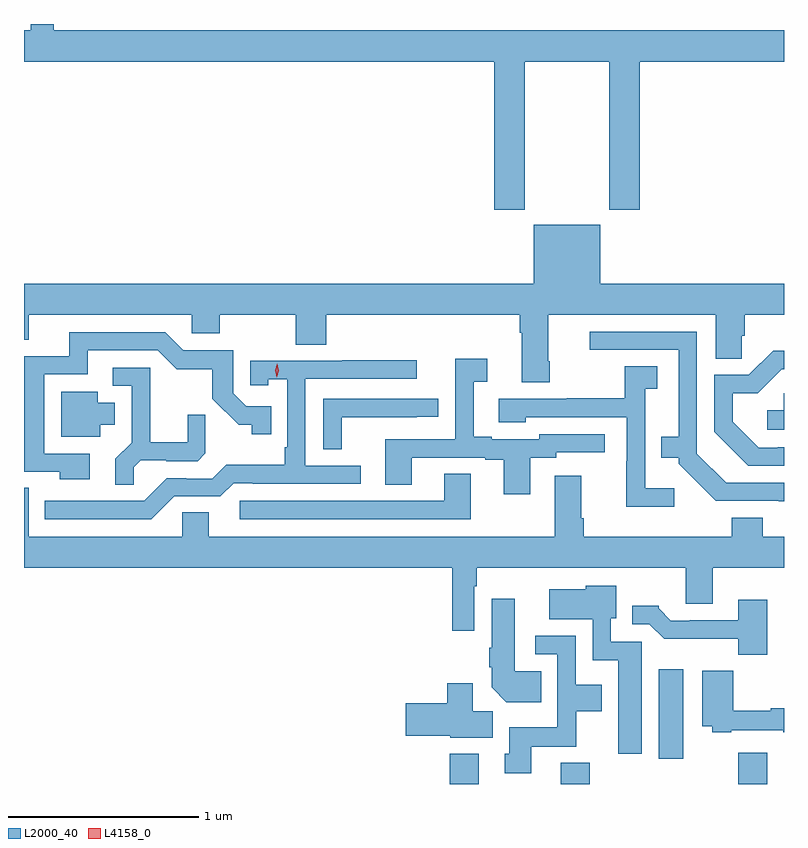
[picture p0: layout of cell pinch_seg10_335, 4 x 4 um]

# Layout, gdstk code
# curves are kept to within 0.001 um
import gdstk
lib = gdstk.Library(unit=1e-6, precision=1e-09)
def R(c, l, rs):  # rectangles x0, y0, x1, y1
    for r in rs: c.add(gdstk.rectangle(r[:2], r[2:], *l))
def P(c, l, *ps):  # polygons
    for p in ps: c.add(gdstk.Polygon(p, *l))
L2000_40 = (2000, 40)
L4158_0 = (4158, 0)

pinch_seg10_335 = lib.new_cell('pinch_seg10_335')
R(pinch_seg10_335, L2000_40, [(410.675,1253.89,410.827,1254.049), (411.257,1253.89,411.41,1254.001), (412.193,1253.89,412.346,1254.055), (411.773,1254.024,411.904,1254.493)])
P(pinch_seg10_335, L2000_40, [(411.069,1257.692),(411.514,1257.692),(411.514,1256.913),(411.674,1256.913),(411.674,1257.692),(412.433,1257.692),(412.433,1257.856),(408.589,1257.856),(408.589,1257.89),(408.468,1257.89),(408.468,1257.856),(408.433,1257.856),(408.433,1257.692),(410.909,1257.692),(410.909,1256.913),(411.069,1256.913)],
  [(408.433,1256.227),(408.457,1256.227),(408.457,1256.36),(409.317,1256.36),(409.317,1256.262),(409.464,1256.262),(409.464,1256.36),(409.864,1256.36),(409.864,1256.203),(410.024,1256.203),(410.024,1256.36),(411.041,1256.36),(411.041,1256.264),(411.053,1256.264),(411.053,1256.004),(411.201,1256.004),(411.201,1256.116),(411.193,1256.116),(411.193,1256.36),(412.073,1256.36),(412.073,1256.128),(412.211,1256.128),(412.211,1256.25),(412.226,1256.25),(412.226,1256.36),(412.433,1256.36),(412.433,1256.524),(411.466,1256.524),(411.466,1256.833),(411.116,1256.833),(411.116,1256.524),(408.433,1256.524)],
  [(412.433,1255.476),(412.128,1255.476),(411.975,1255.629),(411.975,1256.271),(411.411,1256.271),(411.411,1256.175),(411.878,1256.175),(411.878,1255.717),(411.787,1255.717),(411.787,1255.607),(411.879,1255.607),(411.879,1255.575),(412.074,1255.38),(412.433,1255.379)],
  [(408.778,1255.629),(408.54,1255.629),(408.54,1256.046),(408.769,1256.046),(408.769,1256.172),(409.137,1256.172),(409.236,1256.074),(409.425,1256.074),(409.425,1255.918),(409.562,1255.781),(409.632,1255.781),(409.632,1255.731),(409.733,1255.731),(409.733,1255.878),(409.602,1255.878),(409.533,1255.947),(409.533,1256.172),(409.272,1256.172),(409.176,1256.268),(408.671,1256.268),(408.671,1256.142),(408.433,1256.142),(408.433,1255.533),(408.622,1255.533),(408.622,1255.493),(408.778,1255.493)],
  [(412.433,1255.662),(412.399,1255.662),(412.399,1255.659),(412.299,1255.659),(412.162,1255.796),(412.162,1255.946),(412.295,1255.946),(412.422,1256.073),(412.433,1256.073),(412.433,1256.171),(412.376,1256.171),(412.248,1256.043),(412.065,1256.043),(412.065,1255.745),(412.244,1255.566),(412.433,1255.566)],
  [(411.097,1255.608),(411.234,1255.608),(411.234,1255.635),(411.49,1255.635),(411.49,1255.731),(411.144,1255.731),(411.144,1255.704),(410.896,1255.704),(410.896,1255.717),(410.8,1255.717),(410.8,1256.008),(410.872,1256.008),(410.872,1256.128),(410.703,1256.128),(410.703,1255.704),(410.333,1255.704),(410.333,1255.465),(410.473,1255.465),(410.473,1255.608),(410.861,1255.608),(410.861,1255.596),(410.957,1255.596),(410.957,1255.416),(411.097,1255.416)],
  [(409.224,1255.404),(409.467,1255.404),(409.536,1255.473),(409.636,1255.473),(409.636,1255.47),(410.206,1255.47),(410.206,1255.566),(409.914,1255.566),(409.914,1256.022),(410.5,1256.022),(410.5,1256.121),(410.107,1256.121),(410.107,1256.118),(409.623,1256.118),(409.623,1255.989),(409.719,1255.989),(409.719,1256.021),(409.818,1256.021),(409.818,1255.663),(409.806,1255.663),(409.806,1255.57),(409.498,1255.57),(409.425,1255.497),(409.286,1255.497),(409.286,1255.5),(409.185,1255.5),(409.065,1255.38),(408.542,1255.38),(408.542,1255.284),(409.104,1255.284)],
  [(411.856,1255.447),(411.702,1255.447),(411.702,1255.969),(411.766,1255.969),(411.766,1256.09),(411.594,1256.09),(411.594,1255.92),(411.289,1255.92),(411.289,1255.917),(410.931,1255.917),(410.931,1255.793),(411.075,1255.793),(411.075,1255.821),(411.606,1255.821),(411.606,1255.589),(411.604,1255.589),(411.604,1255.349),(411.856,1255.349)],
  [(409.011,1255.556),(409.048,1255.593),(409.182,1255.593),(409.182,1255.59),(409.347,1255.59),(409.388,1255.631),(409.388,1255.833),(409.294,1255.833),(409.294,1255.69),(409.097,1255.69),(409.097,1256.082),(408.9,1256.082),(408.9,1255.986),(408.999,1255.986),(408.999,1255.687),(408.913,1255.601),(408.913,1255.465),(409.011,1255.465)],
  [(408.835,1255.781),(408.91,1255.781),(408.91,1255.897),(408.82,1255.897),(408.82,1255.954),(408.629,1255.954),(408.629,1255.718),(408.835,1255.718)],
  [(412.433,1255.947),(412.431,1255.947),(412.431,1255.858),(412.344,1255.858),(412.344,1255.755),(412.433,1255.755)],
  [(410.106,1255.821),(410.501,1255.821),(410.501,1255.822),(410.614,1255.822),(410.614,1255.917),(410.007,1255.917),(410.007,1255.651),(410.106,1255.651)],
  [(410.785,1255.523),(410.645,1255.523),(410.645,1255.38),(409.569,1255.38),(409.569,1255.284),(410.785,1255.284)],
  [(410.802,1254.932),(410.815,1254.932),(410.815,1255.028),(411.917,1255.028),(411.917,1254.838),(412.057,1254.838),(412.057,1255.028),(412.433,1255.028),(412.433,1255.192),(412.322,1255.192),(412.322,1255.291),(412.157,1255.291),(412.157,1255.192),(411.38,1255.192),(411.38,1255.288),(411.367,1255.288),(411.367,1255.513),(411.227,1255.513),(411.227,1255.192),(409.405,1255.192),(409.405,1255.319),(409.266,1255.319),(409.266,1255.192),(408.457,1255.192),(408.457,1255.448),(408.433,1255.448),(408.433,1255.028),(410.686,1255.028),(410.686,1254.696),(410.802,1254.696)],
  [(411.685,1254.639),(411.522,1254.639),(411.522,1254.762),(411.55,1254.762),(411.55,1254.934),(411.39,1254.934),(411.39,1254.916),(411.198,1254.916),(411.198,1254.758),(411.426,1254.758),(411.426,1254.542),(411.56,1254.542),(411.56,1254.048),(411.685,1254.048)],
  [(411.155,1254.484),(411.016,1254.484),(411.016,1254.865),(410.894,1254.865),(410.894,1254.608),(410.882,1254.608),(410.882,1254.505),(410.894,1254.505),(410.894,1254.398),(410.972,1254.32),(411.155,1254.32)],
  [(412.346,1254.859),(412.193,1254.859),(412.193,1254.753),(411.937,1254.753),(411.937,1254.75),(411.838,1254.75),(411.774,1254.814),(411.774,1254.829),(411.635,1254.829),(411.635,1254.732),(411.723,1254.732),(411.802,1254.654),(412.191,1254.654),(412.191,1254.569),(412.346,1254.569)],
  [(411.103,1254.086),(411.339,1254.086),(411.339,1254.272),(411.475,1254.272),(411.475,1254.412),(411.336,1254.412),(411.336,1254.669),(411.123,1254.669),(411.123,1254.573),(411.24,1254.573),(411.24,1254.19),(410.987,1254.19),(410.987,1254.048),(410.963,1254.048),(410.963,1253.946),(411.103,1253.946)],
  [(412.156,1254.174),(412.429,1254.174),(412.429,1254.162),(412.433,1254.162),(412.433,1254.29),(412.364,1254.29),(412.364,1254.275),(412.166,1254.275),(412.166,1254.487),(412.004,1254.487),(412.004,1254.194),(412.056,1254.194),(412.056,1254.162),(412.156,1254.162)],
  [(410.899,1254.272),(410.794,1254.272),(410.794,1254.421),(410.66,1254.421),(410.66,1254.314),(410.442,1254.314),(410.442,1254.143),(410.676,1254.143),(410.676,1254.134),(410.899,1254.134)])
P(pinch_seg10_335, L4158_0, [(409.763,1256.031),(409.763,1256.031),(409.755,1256.067),(409.766,1256.103),(409.766,1256.103),(409.766,1256.103),(409.775,1256.066),(409.763,1256.031)])

lib.write_gds('pinch_seg10_335.gds')
